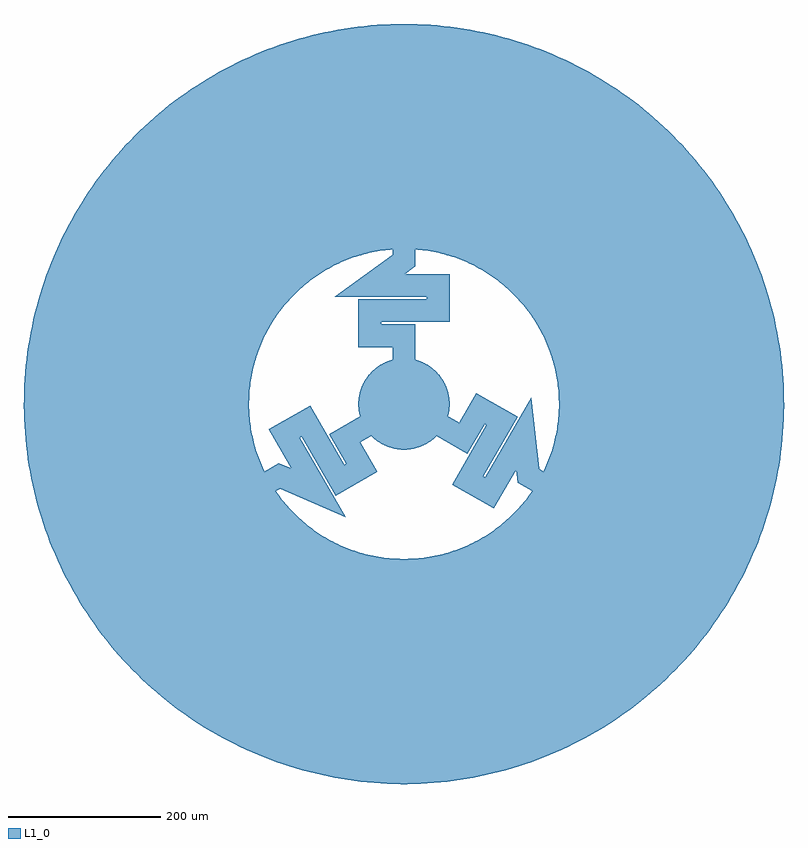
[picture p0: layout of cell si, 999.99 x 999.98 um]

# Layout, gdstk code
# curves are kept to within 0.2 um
import gdstk
lib = gdstk.Library(unit=1e-6, precision=1e-09)
def P(c, l, *ps):  # polygons
    for p in ps: c.add(gdstk.Polygon(p, *l))
L1_0 = (1, 0)

c_si = lib.new_cell('si')
P(c_si, L1_0, [(-0.525,-59.998),(-6.811,-59.612),(-11.995,-58.789),(-18.091,-57.208),(-23.022,-55.408),(-28.703,-52.689),(-34.067,-49.391),(-39.057,-45.548),(-42.888,-41.96),(-46.391,-38.051),(-50.124,-32.979),(-53.305,-27.543),(-55.508,-22.779),(-57.59,-16.835),(-58.841,-11.738),(-59.747,-5.505),(-59.995,0.788),(-59.582,7.072),(-58.736,12.252),(-57.128,18.341),(-54.891,24.228),(-52.049,29.848),(-49.241,34.283),(-45.376,39.256),(-41.772,43.071),(-37.848,46.557),(-32.759,50.268),(-27.31,53.425),(-22.536,55.607),(-17.59,57.364),(-11.48,58.892),(-5.244,59.77),(1.05,59.991),(7.332,59.55),(12.509,58.682),(17.59,57.364),(23.506,55.204),(29.163,52.436),(33.634,49.687),(38.657,45.888),(43.253,41.583),(47.374,36.82),(50.411,32.539),(53.544,27.076),(56.087,21.314),(58.012,15.318),(59.129,10.189),(59.793,4.982),(59.986,-1.313),(59.518,-7.593),(58.626,-12.766),(57.286,-17.841),(55.101,-23.747),(52.308,-29.392),(49.539,-33.851),(46.391,-38.051),(42.147,-42.704),(38.254,-46.224),(33.198,-49.979),(27.776,-53.184),(23.022,-55.408),(17.087,-57.515),(10.964,-58.99),(4.721,-59.814)],
  [(-4.375,-499.981),(-30.609,-499.062),(-56.759,-496.768),(-82.752,-493.105),(-99.958,-489.907),(-125.531,-483.985),(-150.759,-476.73),(-175.57,-468.161),(-199.898,-458.302),(-215.815,-451.025),(-239.188,-439.078),(-261.902,-425.92),(-283.894,-411.588),(-305.103,-396.121),(-325.472,-379.563),(-344.944,-361.959),(-357.4,-349.665),(-375.258,-330.426),(-392.082,-310.277),(-407.826,-289.272),(-417.699,-274.822),(-431.547,-252.522),(-440.12,-237.265),(-451.965,-213.839),(-462.565,-189.825),(-471.89,-165.287),(-479.914,-140.294),(-486.616,-114.914),(-491.976,-89.217),(-494.797,-71.945),(-497.891,-45.878),(-499.612,-19.685),(-499.957,6.563),(-498.923,32.793),(-496.515,58.932),(-492.738,84.908),(-487.603,110.651),(-481.124,136.089),(-473.318,161.151),(-464.209,185.77),(-456.475,204),(0,204),(-10.706,203.719),(-24.93,202.471),(-35.522,200.884),(-49.487,197.907),(-59.805,195.037),(-73.301,190.376),(-86.439,184.782),(-96.017,179.991),(-105.331,174.704),(-117.294,166.908),(-125.892,160.522),(-136.812,151.323),(-147.062,141.382),(-154.279,133.469),(-161.071,125.188),(-169.434,113.614),(-175.163,104.566),(-182.048,92.057),(-186.629,82.376),(-191.934,69.119),(-195.297,58.951),(-198.942,45.146),(-201.613,31.119),(-202.968,20.495),(-203.764,9.815),(-203.951,-4.463),(-203.436,-15.16),(-201.877,-29.353),(-200.058,-39.908),(-196.777,-53.804),(-193.682,-64.057),(-188.727,-77.449),(-182.847,-90.46),(-177.847,-99.932),(-172.358,-109.128),(-164.302,-120.917),(-157.73,-129.373),(-148.293,-140.089),(-140.737,-147.679),(-130.062,-157.162),(-118.75,-165.875),(-109.881,-171.878),(-97.589,-179.144),(-88.052,-184.018),(-78.274,-188.386),(-64.904,-193.4),(-51.217,-197.466),(-40.783,-199.882),(-30.236,-201.747),(-16.05,-203.368),(-5.355,-203.93),(8.923,-203.805),(19.607,-203.056),(33.763,-201.187),(44.275,-199.138),(58.096,-195.553),(71.633,-191.01),(81.558,-186.987),(94.439,-180.824),(103.798,-175.619),(115.829,-167.928),(124.482,-161.617),(132.793,-154.862),(143.3,-145.193),(150.722,-137.473),(159.97,-126.593),(166.393,-118.023),(172.358,-109.128),(177.847,-99.932),(182.847,-90.46),(188.727,-77.449),(192.531,-67.437),(195.805,-57.24),(198.539,-46.885),(200.726,-36.401),(202.781,-22.27),(203.67,-11.598),(203.998,-0.893),(203.764,9.815),(202.578,24.044),(201.037,34.643),(198.942,45.146),(195.297,58.951),(191.934,69.119),(186.629,82.376),(182.048,92.057),(176.966,101.484),(171.396,110.632),(165.354,119.475),(158.856,127.988),(149.514,138.786),(142.024,146.442),(134.143,153.694),(123.063,162.701),(114.355,168.935),(102.258,176.52),(92.853,181.644),(79.919,187.694),(66.594,192.824),(56.383,196.054),(46.016,198.742),(35.522,200.884),(24.93,202.471),(10.706,203.719),(0,204),(-456.475,204),(-446.196,225.63),(-438.027,241.107),(-429.321,256.289),(-420.088,271.156),(-410.341,285.692),(-400.092,299.878),(-389.352,313.696),(-378.135,327.13),(-366.455,340.163),(-354.326,352.779),(-341.763,364.963),(-328.781,376.7),(-315.396,387.976),(-301.625,398.776),(-287.485,409.087),(-272.992,418.898),(-258.165,428.195),(-243.021,436.968),(-227.58,445.205),(-211.86,452.897),(-195.88,460.034),(-171.467,469.68),(-154.925,475.393),(-138.193,480.523),(-121.291,485.065),(-104.241,489.013),(-87.063,492.362),(-69.779,495.107),(-52.409,497.246),(-34.975,498.775),(-17.498,499.694),(0,500),(17.498,499.694),(43.699,498.087),(69.779,495.107),(95.667,490.763),(121.291,485.065),(146.581,478.031),(171.467,469.68),(195.88,460.034),(211.86,452.897),(235.337,441.154),(258.165,428.195),(280.281,414.056),(294.6,403.994),(315.396,387.976),(335.323,370.888),(354.326,352.779),(372.352,333.697),(389.352,313.696),(405.279,292.83),(415.278,278.467),(429.321,256.289),(442.179,233.404),(453.819,209.876),(464.209,185.77),(473.318,161.151),(481.124,136.089),(487.603,110.651),(491.176,93.519),(495.408,67.612),(498.273,41.519),(499.421,24.056),(499.995,-2.188),(499.191,-28.425),(497.012,-54.584),(494.797,-71.945),(490.339,-97.813),(486.616,-114.914),(479.914,-140.294),(471.89,-165.287),(462.565,-189.825),(451.965,-213.839),(440.12,-237.265),(427.061,-260.036),(412.826,-282.09),(402.701,-296.365),(386.592,-317.091),(369.418,-336.943),(351.225,-355.866),(332.065,-373.809),(311.989,-390.721),(291.054,-406.556),(269.316,-421.271),(254.408,-430.438),(231.467,-443.196),(207.888,-454.733),(183.737,-465.017),(159.079,-474.019),(142.392,-479.296),(117.042,-486.108),(91.369,-491.581),(65.444,-495.699),(39.339,-498.45),(13.125,-499.828)])
c_si.add(gdstk.FlexPath([(0,0),(0,90),(-45,90),(-45,123),(45,123),(45,156),(-45,156),(-45,156),(0,189),(0,204)], 30, ends="flush", simple_path=True, layer=1, datatype=0))  # L1_0
c_si.add(gdstk.FlexPath([(0,0),(-77.942,-45),(-55.442,-83.971),(-84.021,-100.471),(-129.021,-22.529),(-157.6,-39.029),(-112.6,-116.971),(-112.6,-116.971),(-163.679,-94.5),(-176.669,-102)], 30, ends="flush", simple_path=True, layer=1, datatype=0))  # L1_0
c_si.add(gdstk.FlexPath([(0,0),(77.942,-45),(100.442,-6.029),(129.021,-22.529),(84.021,-100.471),(112.6,-116.971),(157.6,-39.029),(157.6,-39.029),(163.679,-94.5),(176.669,-102)], 30, ends="flush", simple_path=True, layer=1, datatype=0))  # L1_0

lib.write_gds('si.gds')
